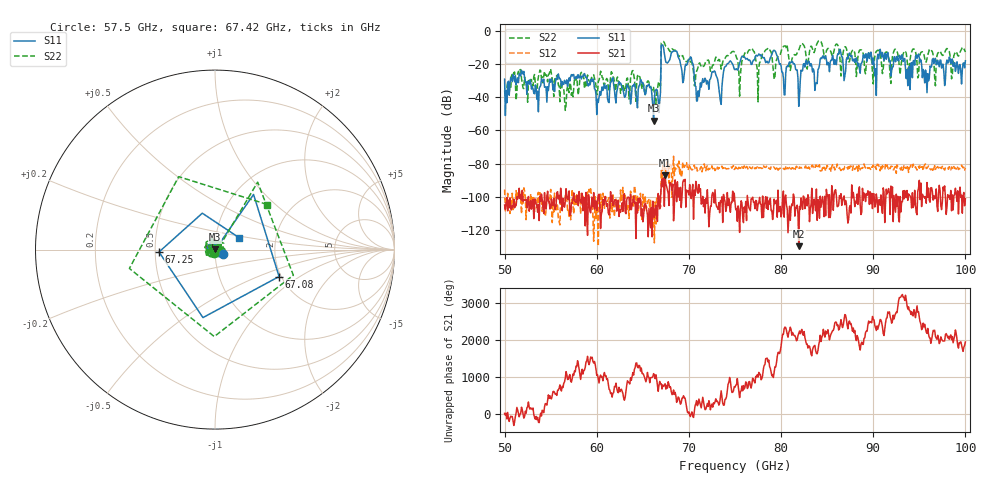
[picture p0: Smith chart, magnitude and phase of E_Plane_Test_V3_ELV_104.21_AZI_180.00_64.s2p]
! 11/26/2026 4:42:23 PM
! C:\ANRITSUVNA\TEMP\TEMP.S2P
! CHANNEL.1
! TR.MEASUREMENT
! RAW.DATA
# HZ S RI R 50.0
! FREQ.HZ  S11RE  S11IM  S21RE  S21IM  S12RE  S12IM  S22RE  S22IM
!; PortSelection: Port_12
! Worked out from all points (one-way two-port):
!   601 points, 50 GHz to 100 GHz, reference 50 ohm
!   highest |S21| = -87.11 dB at 67.42 GHz (marker M1); lowest = -130.0 dB at 81.92 GHz (marker M2)
!   lowest |S11| = -54.1 dB at 66.17 GHz (marker M3), VSWR 1.00, Z = 50.1 + j0.143 ohm
!   |S11| at or under -10 dB: start of sweep to 67 GHz; 67.24 GHz to end of sweep
!   |S22| runs from -47.9 to -5.6 dB; largest |S21 - S12| = 0.00017
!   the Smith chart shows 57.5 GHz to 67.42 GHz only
!   S11 on the Smith chart (normalised r, x): 57.5 GHz: 1.09, -0.05; 67.08 GHz: 1.95, -0.69; 67.25 GHz: 0.52, -0.02; 67.42 GHz: 1.29, +0.18
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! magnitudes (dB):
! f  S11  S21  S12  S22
! 50 GHz  -29.0  -105.1  -95.7  -35.8
! 51.67 GHz  -26.3  -101.2  -100.2  -23.3
! 53.42 GHz  -34.8  -104.5  -102.3  -35.4
! 57.5 GHz  -26.2  -97.8  -110.4  -34.7
! 58.42 GHz  -27.1  -98.1  -100.7  -24.7
! 60.17 GHz  -43.1  -99.1  -130.0  -30.4
! 66.17 GHz  -54.1  -106.3  -107.6  -34.0
! 66.67 GHz  -41.4  -98.2  -103.3  -31.6
! 67.08 GHz  -8.2  -89.5  -89.1  -6.8
! 67.25 GHz  -10.1  -88.7  -80.2  -6.2
! 67.42 GHz  -16.5  -87.1  -88.3  -8.3
! 70.25 GHz  -16.0  -101.2  -83.4  -18.8
! 70.92 GHz  -42.1  -97.5  -84.6  -23.1
! 75 GHz  -23.3  -103.7  -83.2  -13.0
! 79.25 GHz  -11.5  -101.5  -82.4  -29.0
! 81.92 GHz  -45.4  -130.0  -83.4  -11.3
! 83.42 GHz  -24.6  -110.2  -81.0  -10.8
! 91.67 GHz  -16.8  -95.1  -83.3  -15.2
! 93.75 GHz  -33.0  -102.3  -81.1  -21.3
! 94.83 GHz  -15.0  -96.7  -82.4  -28.2
! 95.83 GHz  -37.2  -91.5  -82.8  -16.6
! 100 GHz  -17.9  -101.3  -82.7  -12.6
